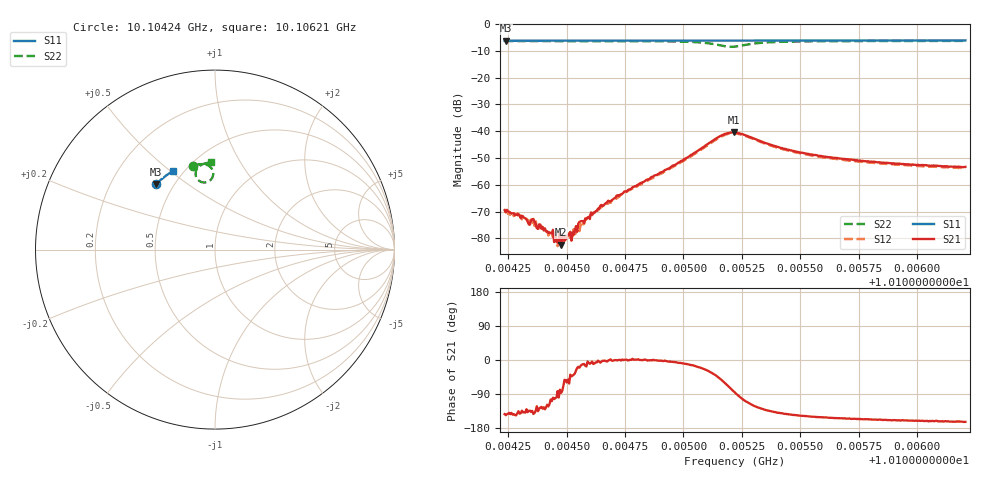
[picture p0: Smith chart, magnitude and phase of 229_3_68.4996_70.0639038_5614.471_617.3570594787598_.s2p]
#  HZ  S  RI  R  50.00
! Rohde & Schwarz Vector Network Analyzer
! Rohde-Schwarz,ZNB20-2Port,1311601062101988,3.16
! Created: UTC 3/20/2024, 5:13:59 PM
! freq[Hz]  re:S11  im:S11  re:S21  im:S21  re:S12  im:S12  re:S22  im:S22
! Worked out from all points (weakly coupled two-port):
!   401 points, 10.10424 GHz to 10.10621 GHz, reference 50 ohm
!   highest |S21| = -40.45 dB at 10.10522 GHz (marker M1); lowest = -82.3 dB at 10.10448 GHz (marker M2)
!   lowest |S11| = -6.2 dB at 10.10424 GHz (marker M3), VSWR 2.93, Z = 20 + j19.2 ohm
!   |S11| at or under -10 dB: nowhere
!   |S22| runs from -8.5 to -6.3 dB; largest |S21 - S12| = 0.001
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1.0104235e10  -0.3291 0.365  -0.00027 -0.000204  -0.00026 -0.000191  -0.1219 0.4679
1.010424e10  -0.3287 0.3652  -0.000253 -0.000172  -0.000225 -0.000225  -0.1215 0.468
1.0104319e10  -0.3253 0.3687  -0.000179 -0.000165  -0.000178 -0.000156  -0.1159 0.4698
1.0104334e10  -0.3246 0.3692  -0.000151 -0.000138  -0.000145 -0.000168  -0.1148 0.4699
1.0104358e10  -0.3236 0.3703  -0.000182 -0.00014  -0.000125 -0.000165  -0.1129 0.4704
1.0104373e10  -0.3229 0.3708  -8.23e-05 -0.000131  -9.26e-05 -0.000129  -0.1117 0.4707
1.0104452e10  -0.3194 0.3742  -2.4e-05 -0.000128  2.46e-06 -8.68e-05  -0.1057 0.4721
1.0104477e10  -0.3183 0.3752  4.27e-06 -7.65e-05  2.62e-05 -0.000119  -0.1037 0.4726
1.0104491e10  -0.3177 0.3759  5.49e-05 -7.13e-05  6.53e-05 -9.24e-05  -0.1025 0.4728
1.0104521e10  -0.3163 0.3771  6.58e-05 -6.19e-05  7.5e-05 -8.7e-05  -0.1001 0.4733
1.0104565e10  -0.3143 0.3789  0.000205 -4.52e-05  0.000197 -5.45e-05  -0.0963 0.474
1.0104595e10  -0.3129 0.3801  0.000251 -3.37e-05  0.000266 -1.92e-05  -0.0937 0.4745
1.0104639e10  -0.3109 0.3819  0.000356 -2.49e-05  0.00035 -4.57e-06  -0.0897 0.4751
1.0104895e10  -0.299 0.3919  0.00162 -4.75e-05  0.00156 0.000123  -0.0597 0.4758
1.0105157e10  -0.2863 0.4016  0.00526 -0.00611  0.00564 -0.00534  -0.0142 0.4031
1.0105216e10  -0.2837 0.4034  0.00109 -0.00943  0.00196 -0.00896  -0.0644 0.374
1.0105221e10  -0.2835 0.4035  0.000595 -0.00942  0.00151 -0.00901  -0.0696 0.3747
1.010529e10  -0.2806 0.4063  -0.00348 -0.00681  -0.00275 -0.0069  -0.1075 0.4139
1.0105418e10  -0.2744 0.4111  -0.00375 -0.00309  -0.00338 -0.00328  -0.0945 0.4581
1.0105551e10  -0.2677 0.416  -0.00317 -0.00186  -0.00287 -0.00203  -0.0763 0.4721
1.0105881e10  -0.2511 0.4272  -0.00236 -0.000937  -0.0022 -0.00109  -0.0445 0.4828
1.0106206e10  -0.2344 0.4377  -0.00207 -0.000624  -0.0019 -0.000789  -0.0195 0.4864
